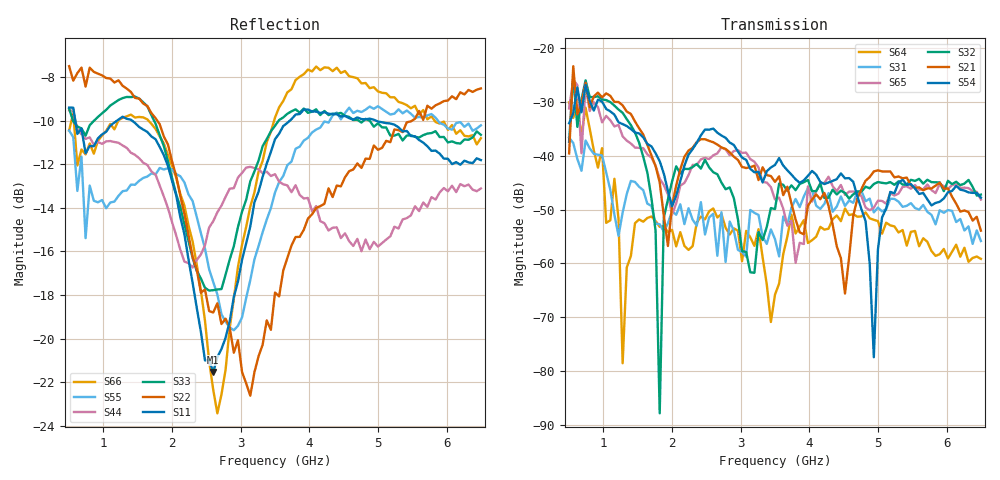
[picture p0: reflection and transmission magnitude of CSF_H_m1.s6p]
!Keysight Technologies,M9804A,MY58100912,A.14.10.03
!Date: Thursday, April 27, 2023 10:28:33
!Correction: S11(C  6-Port  )
!S12(C  6-Port  )
!S13(C  6-Port  )
!S14(C  6-Port  )
!S15(C  6-Port  )
!S16(C  6-Port  )
!S21(C  6-Port  )
!S22(C  6-Port  )
!S23(C  6-Port  )
!S24(C  6-Port  )
!S25(C  6-Port  )
!S26(C  6-Port  )
!S31(C  6-Port  )
!S32(C  6-Port  )
!S33(C  6-Port  )
!S34(C  6-Port  )
!S35(C  6-Port  )
!S36(C  6-Port  )
!S41(C  6-Port  )
!S42(C  6-Port  )
!S43(C  6-Port  )
!S44(C  6-Port  )
!S45(C  6-Port  )
!S46(C  6-Port  )
!S51(C  6-Port  )
!S52(C  6-Port  )
!S53(C  6-Port  )
!S54(C  6-Port  )
!S55(C  6-Port  )
!S56(C  6-Port  )
!S61(C  6-Port  )
!S62(C  6-Port  )
!S63(C  6-Port  )
!S64(C  6-Port  )
!S65(C  6-Port  )
!S66(C  6-Port  )
!S6P File: Measurement: :
# Hz S  RI  R 50
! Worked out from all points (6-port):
!   101 points, 500 MHz to 6.5 GHz, reference 50 ohm
!   strongest paths, dB at 500 MHz, 2 GHz, 3.5 GHz, 5 GHz, 6.5 GHz:
!     S54: -34.0, -49.4, -41.7, -57.4, -47.8
!     S21: -39.6, -49.3, -44.9, -42.7, -53.9
!     S32: -37.4, -44.8, -49.9, -44.9, -47.2
!     S65: -31.2, -50.9, -48.1, -48.4, -48.1
!     S31: -36.7, -50.3, -55.5, -49.6, -55.8
!     S64: -30.1, -53.8, -65.8, -52.1, -59.1
!   lowest |S11| = -21.5 dB at 2.6 GHz (marker M1), VSWR 1.18, Z = 42.6 + j2.17 ohm
!   |S11| at or under -10 dB: 589.7 MHz to 1.197 GHz (607.1 MHz wide, 68 % of centre); 1.419 GHz to 3.715 GHz (2.296 GHz wide, 89.5 % of centre); 4.973 GHz to end of sweep
